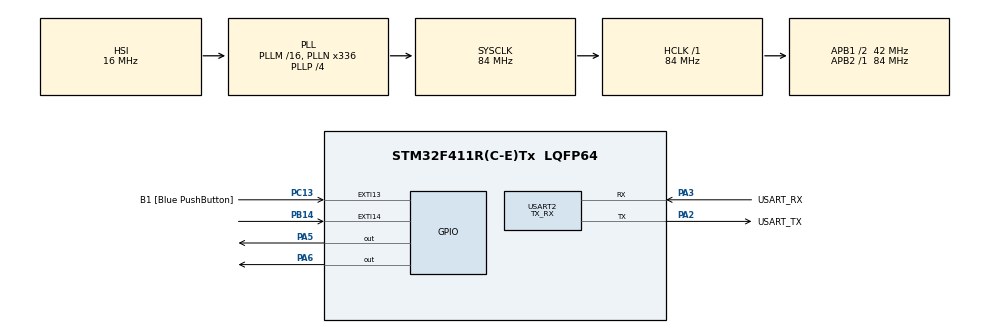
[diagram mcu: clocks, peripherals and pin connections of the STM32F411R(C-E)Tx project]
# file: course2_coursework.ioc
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Mcu.Family=STM32F4
Mcu.Name=STM32F411R(C-E)Tx
Mcu.Package=LQFP64
NVIC.EXTI15_10_IRQn=true\:0\:0\:false\:false\:true\:true\:true\:true
NVIC.PriorityGroup=NVIC_PRIORITYGROUP_0
PA13.GPIO_Label=TMS
PA13.Mode=Serial_Wire
PA13.Signal=SYS_JTMS-SWDIO
PA14.GPIO_Label=TCK
PA14.Mode=Serial_Wire
PA14.Signal=SYS_JTCK-SWCLK
PA2.GPIO_Label=USART_TX
PA2.Mode=Asynchronous
PA2.Signal=USART2_TX
PA3.GPIO_Label=USART_RX
PA3.Mode=Asynchronous
PA3.Signal=USART2_RX
PA5.Signal=GPIO_Output
PA6.Signal=GPIO_Output
PB14.GPIO_ModeDefaultEXTI=GPIO_MODE_IT_FALLING
PB14.Signal=GPXTI14
PB3.GPIO_Label=SWO
PB3.Signal=SYS_JTDO-SWO
PC13-ANTI_TAMP.GPIO_Label=B1 [Blue PushButton]
PC13-ANTI_TAMP.GPIO_ModeDefaultEXTI=GPIO_MODE_IT_FALLING
PC13-ANTI_TAMP.Signal=GPXTI13
ProjectManager.HeapSize=0x200
ProjectManager.StackSize=0x400
ProjectManager.TargetToolchain=STM32CubeIDE
RCC.48MHZClocksFreq_Value=84000000
RCC.AHBFreq_Value=84000000
RCC.APB1CLKDivider=RCC_HCLK_DIV2
RCC.APB1Freq_Value=42000000
RCC.APB1TimFreq_Value=84000000
RCC.APB2Freq_Value=84000000
RCC.APB2TimFreq_Value=84000000
RCC.CortexFreq_Value=84000000
RCC.FLatency-AdvancedSettings=FLASH_LATENCY_2
RCC.HCLKFreq_Value=84000000
RCC.HSE_VALUE=8000000
RCC.HSI_VALUE=16000000
RCC.LSE_VALUE=32768
RCC.PLLN=336
RCC.PLLP=RCC_PLLP_DIV4
RCC.SYSCLKFreq_VALUE=84000000
RCC.SYSCLKSource=RCC_SYSCLKSOURCE_PLLCLK
RCC.VCOOutputFreq_Value=336000000
USART2.Mode=MODE_TX_RX
USART2.VirtualMode=VM_ASYNC
board=NUCLEO-F411RE

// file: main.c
/* USER CODE BEGIN Header */
/**
  ******************************************************************************
  * @file           : main.c
  * @brief          : Main program body
  ******************************************************************************
  * @attention
  *
  * Copyright (c) 2022 STMicroelectronics.
  * All rights reserved.
  *
  * This software is licensed under terms that can be found in the LICENSE file
  * in the root directory of this software component.
  * If no LICENSE file comes with this software, it is provided AS-IS.
  *
  ******************************************************************************
  */
/* USER CODE END Header */
#include "main.h"
#include "usart.h"
#include "gpio.h"

/* USER CODE BEGIN Includes */
#include "stdio.h"
#include "string.h"
#include "bootload.h"
/* USER CODE END Includes */

/* USER CODE BEGIN PD */
#define HEX0 ":100000001FC0FECFFDCFFCCFFBCFFACFF9CFF8CF8B"
#define HEX1 ":10001000F7CFF6CFF5CFF4CFF3CFF2CFF1CFF0CFCC"
#define HEX2 ":06002000EFCFEECFEDCFA3"
#define HEX3 ":100040000FE50DBF04E00EBFC298BA9A04E018B3E2"
#define HEX4 ":10005000102718BB01D0FBCFB3ECA0E51197F1F747"
#define QL 5 //quantity of lines
#define LEN 44 //maximum line length
#define DL 33 //maximum data length + \0
/* USER CODE END PD */

/* USER CODE BEGIN PV */
volatile uint8_t flag = 0;
_Bool crcCorrect = 0, eraseCompleted = 0, errorFlag = 1;
static char buffer[100];
/* USER CODE END PV */

void SystemClock_Config(void);

int main(void)
{

  /* MCU Configuration--------------------------------------------------------*/

  /* Reset of all peripherals, Initializes the Flash interface and the Systick. */
  HAL_Init();

  /* Configure the system clock */
  SystemClock_Config();

  /* Initialize all configured peripherals */
  MX_GPIO_Init();
  MX_USART2_UART_Init();
  /* USER CODE BEGIN 2 */
  sprintf(buffer, "\n\rWelcome! PC13 - output data, PB14 - write data to flash.\n\r");
  HAL_UART_Transmit(&huart2, (uint8_t*) buffer, strlen(buffer), 100);
  sprintf(buffer, "Data can be written only after data output and CRC check is completed!\n\r");
  HAL_UART_Transmit(&huart2, (uint8_t*) buffer, strlen(buffer), 100);
  /* USER CODE END 2 */

  /* Infinite loop */
  /* USER CODE BEGIN WHILE */
  while (1)
  {
	  if (!flag)
	  {
		  HAL_GPIO_TogglePin(GPIOA, GPIO_PIN_5);
		  HAL_Delay(500);
	  }
	  if (flag == 1)
	  {
		  toggleBlueLed();
		  outputData();
		  if (!errorFlag)
		  {
			  checkCRC();
		  }
		  flag = 0;
	  }
	  if (flag == 2)
	  {
		  if (crcCorrect)
		  {
			  toggleBlueLed();
			  eraseData();
		  }
		  else
		  {
			  sprintf(buffer, "\n\rWrite error: output and check the data first!\n\r");
			  HAL_UART_Transmit(&huart2, (uint8_t*) buffer, strlen(buffer), 100);
		  }
		  if (eraseCompleted)
		  {
			  toggleBlueLed();
			  writeData();
		  }
		  flag = 0;
	  }
    /* USER CODE END WHILE */

  }
}

void SystemClock_Config(void)
{
  RCC_OscInitTypeDef RCC_OscInitStruct = {0};
  RCC_ClkInitTypeDef RCC_ClkInitStruct = {0};

  /** Configure the main internal regulator output voltage
  */
  __HAL_RCC_PWR_CLK_ENABLE();
  __HAL_PWR_VOLTAGESCALING_CONFIG(PWR_REGULATOR_VOLTAGE_SCALE1);

  /** Initializes the RCC Oscillators according to the specified parameters
  * in the RCC_OscInitTypeDef structure.
  */
  RCC_OscInitStruct.OscillatorType = RCC_OSCILLATORTYPE_HSI;
  RCC_OscInitStruct.HSIState = RCC_HSI_ON;
  RCC_OscInitStruct.HSICalibrationValue = RCC_HSICALIBRATION_DEFAULT;
  RCC_OscInitStruct.PLL.PLLState = RCC_PLL_ON;
  RCC_OscInitStruct.PLL.PLLSource = RCC_PLLSOURCE_HSI;
  RCC_OscInitStruct.PLL.PLLM = 16;
  RCC_OscInitStruct.PLL.PLLN = 336;
  RCC_OscInitStruct.PLL.PLLP = RCC_PLLP_DIV4;
  RCC_OscInitStruct.PLL.PLLQ = 4;
  if (HAL_RCC_OscConfig(&RCC_OscInitStruct) != HAL_OK)
  {
    Error_Handler();
  }

  /** Initializes the CPU, AHB and APB buses clocks
  */
  RCC_ClkInitStruct.ClockType = RCC_CLOCKTYPE_HCLK|RCC_CLOCKTYPE_SYSCLK
                              |RCC_CLOCKTYPE_PCLK1|RCC_CLOCKTYPE_PCLK2;
  RCC_ClkInitStruct.SYSCLKSource = RCC_SYSCLKSOURCE_PLLCLK;
  RCC_ClkInitStruct.AHBCLKDivider = RCC_SYSCLK_DIV1;
  RCC_ClkInitStruct.APB1CLKDivider = RCC_HCLK_DIV2;
  RCC_ClkInitStruct.APB2CLKDivider = RCC_HCLK_DIV1;

  if (HAL_RCC_ClockConfig(&RCC_ClkInitStruct, FLASH_LATENCY_2) != HAL_OK)
  {
    Error_Handler();
  }
}

/* USER CODE BEGIN 4 */

void HAL_GPIO_EXTI_Callback(uint16_t GPIO_Pin)
{
	if (GPIO_Pin == GPIO_PIN_13)
	{
		flag = 1;
	}
	if (GPIO_Pin == GPIO_PIN_14)
	{
		flag = 2;
	}
}
/* USER CODE END 4 */

void Error_Handler(void)
{
  __disable_irq();
  while (1)
  {
  }
}
